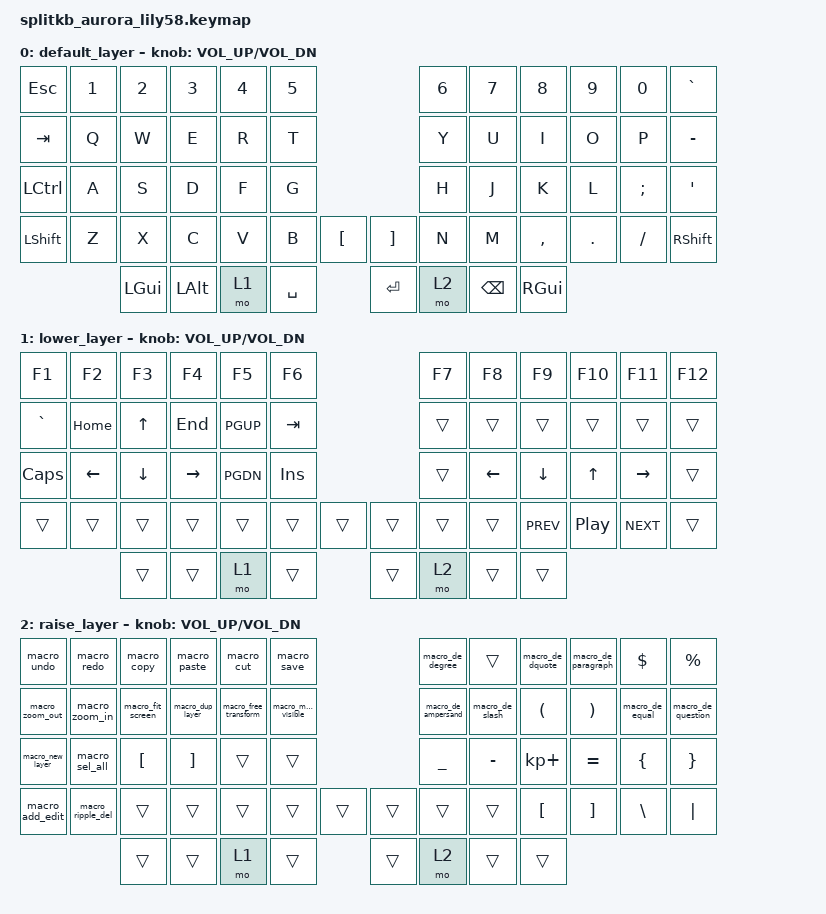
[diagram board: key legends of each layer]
/*
 * lilly keymap — Left-hand-"sole" DE-QWERTZ für Lily58 Pro
 * ─────────────────────────────────────────────────────────
 * Konzept:
 *   • Linke Hand = "sole" (Haupt-Hand): Navigation, Mods, Layer,
 *     Makros → rechte Hand bleibt frei für Maus/Stylus.
 *   • Trotzdem beidhändig ausgelegt für normales Tippen.
 *   • DE-QWERTZ (OS auf Deutsch eingestellt → HID-Keycodes
 *     erzeugen automatisch korrekte DE-Zeichen).
 *   • Gaming-freundlich (WASD, Zahlen, Space links, Shift, Ctrl
 *     an gewohnter Position).
 *   • Makro-Layer für Photoshop/GIMP, Video-Editing, etc.
 *   • Split-Keyboard- & Touch-Typing-Anfänger freundlich
 *     durch logische Layer-Struktur und Kommentare.
 *
 * Layer-Übersicht:
 *   0 – BASE:   DE-QWERTZ tippen
 *   1 – LOWER:  Navigation (Pfeile, Home, End…), F-Tasten,
 *               Mediensteuerung → linker Daumen
 *   2 – RAISE:  Kreativ-Makros + Sonderzeichen → rechter Daumen
 *
 * Makros (definiert in /macros):
 *   UNDO, REDO, COPY, PASTE, CUT, SAVE, SEL_ALL,
 *   NEW_LAYER, DUP_LAYER, FREE_TRANSFORM, MERGE_VISIBLE,
 *   ZOOM_IN, ZOOM_OUT, FIT_SCREEN, ADD_EDIT, RIPPLE_DEL
 *
 * Daumen-Cluster:
 *   Links:  ⌘ | ⌥ | LOWER(🖐) | ␣
 *   Rechts: ↵ | ⌫ | RAISE(🖐) | ⌘
 *   → Space am linken Daumen – optimal zum Spielen
 *     und für Daumen-Anfänger.
 *   → Enter & Backspace am rechten Daumen – logisch für
 *     beidhändiges Tippen.
 *
 * ♥ WICHTIG ♥  Dieses Layout setzt DE-Tastaturlayout im
 *   Betriebssystem voraus!  Die HID-Scancodes werden erst
 *   vom OS in die korrekten deutschen Zeichen übersetzt
 *   (Y→Z, Z→Y, [→Ü, ]→+, ;→Ö, '→Ä, ---→ß, `→^, usw.)
 */

#include <behaviors.dtsi>
#include <dt-bindings/zmk/keys.h>
#include <dt-bindings/zmk/bt.h>
#include <dt-bindings/zmk/ext_power.h>

/ {
    /*
     * ─── Makro-Definitionen ──────────────────────────────
     * Alle Makros sind als `&your_macro` in den Layern
     * verwendbar.
     */
    macros {

        /* ── Allgemeine Shortcuts ─────────────────────── */
        macro_undo: macro_undo {
            compatible = "zmk,behavior-macro";
            label = "UNDO";
            #binding-cells = <0>;
            bindings
                = <&macro_press &kp LCTRL>
                , <&macro_tap &kp Z>
                , <&macro_release &kp LCTRL>
                ;
        };

        macro_redo: macro_redo {
            compatible = "zmk,behavior-macro";
            label = "REDO";
            #binding-cells = <0>;
            bindings
                = <&macro_press &kp LCTRL>
                , <&macro_press &kp LSHFT>
                , <&macro_tap &kp Z>
                , <&macro_release &kp LSHFT>
                , <&macro_release &kp LCTRL>
                ;
        };

        macro_copy: macro_copy {
            compatible = "zmk,behavior-macro";
            label = "COPY";
            #binding-cells = <0>;
            bindings
                = <&macro_press &kp LCTRL>
                , <&macro_tap &kp C>
                , <&macro_release &kp LCTRL>
                ;
        };

        macro_paste: macro_paste {
            compatible = "zmk,behavior-macro";
            label = "PASTE";
            #binding-cells = <0>;
            bindings
                = <&macro_press &kp LCTRL>
                , <&macro_tap &kp V>
                , <&macro_release &kp LCTRL>
                ;
        };

        macro_cut: macro_cut {
            compatible = "zmk,behavior-macro";
            label = "CUT";
            #binding-cells = <0>;
            bindings
                = <&macro_press &kp LCTRL>
                , <&macro_tap &kp X>
                , <&macro_release &kp LCTRL>
                ;
        };

        macro_save: macro_save {
            compatible = "zmk,behavior-macro";
            label = "SAVE";
            #binding-cells = <0>;
            bindings
                = <&macro_press &kp LCTRL>
                , <&macro_tap &kp S>
                , <&macro_release &kp LCTRL>
                ;
        };

        macro_sel_all: macro_sel_all {
            compatible = "zmk,behavior-macro";
            label = "SEL_ALL";
            #binding-cells = <0>;
            bindings
                = <&macro_press &kp LCTRL>
                , <&macro_tap &kp A>
                , <&macro_release &kp LCTRL>
                ;
        };

        /* ── Photoshop / GIMP / Grafik ────────────────── */
        macro_new_layer: macro_new_layer {
            compatible = "zmk,behavior-macro";
            label = "NEW_LAYER";
            #binding-cells = <0>;
            bindings
                = <&macro_press &kp LCTRL>
                , <&macro_press &kp LSHFT>
                , <&macro_tap &kp N>
                , <&macro_release &kp LSHFT>
                , <&macro_release &kp LCTRL>
                ;
        };

        macro_dup_layer: macro_dup_layer {
            compatible = "zmk,behavior-macro";
            label = "DUP_LAYER";
            #binding-cells = <0>;
            bindings
                = <&macro_press &kp LCTRL>
                , <&macro_tap &kp J>
                , <&macro_release &kp LCTRL>
                ;
        };

        macro_free_transform: macro_free_transform {
            compatible = "zmk,behavior-macro";
            label = "FREE_TRANSFORM";
            #binding-cells = <0>;
            bindings
                = <&macro_press &kp LCTRL>
                , <&macro_tap &kp T>
                , <&macro_release &kp LCTRL>
                ;
        };

        macro_merge_visible: macro_merge_visible {
            compatible = "zmk,behavior-macro";
            label = "MERGE_VISIBLE";
            #binding-cells = <0>;
            bindings
                = <&macro_press &kp LCTRL>
                , <&macro_press &kp LSHFT>
                , <&macro_press &kp LALT>
                , <&macro_tap &kp E>
                , <&macro_release &kp LALT>
                , <&macro_release &kp LSHFT>
                , <&macro_release &kp LCTRL>
                ;
        };

        macro_zoom_in: macro_zoom_in {
            compatible = "zmk,behavior-macro";
            label = "ZOOM_IN";
            #binding-cells = <0>;
            bindings
                = <&macro_press &kp LCTRL>
                , <&macro_tap &kp EQUAL>
                , <&macro_release &kp LCTRL>
                ;
        };

        macro_zoom_out: macro_zoom_out {
            compatible = "zmk,behavior-macro";
            label = "ZOOM_OUT";
            #binding-cells = <0>;
            bindings
                = <&macro_press &kp LCTRL>
                , <&macro_tap &kp MINUS>
                , <&macro_release &kp LCTRL>
                ;
        };

        macro_fit_screen: macro_fit_screen {
            compatible = "zmk,behavior-macro";
            label = "FIT_SCREEN";
            #binding-cells = <0>;
            bindings
                = <&macro_press &kp LCTRL>
                , <&macro_tap &kp N0>
                , <&macro_release &kp LCTRL>
                ;
        };

        /* ── Video-Editing (Premiere / DaVinci) ──────── */
        macro_add_edit: macro_add_edit {
            compatible = "zmk,behavior-macro";
            label = "ADD_EDIT";
            #binding-cells = <0>;
            bindings
                = <&macro_press &kp LCTRL>
                , <&macro_tap &kp K>
                , <&macro_release &kp LCTRL>
                ;
        };

        macro_ripple_del: macro_ripple_del {
            compatible = "zmk,behavior-macro";
            label = "RIPPLE_DEL";
            #binding-cells = <0>;
            bindings
                = <&macro_press &kp LSHFT>
                , <&macro_tap &kp DEL>
                , <&macro_release &kp LSHFT>
                ;
        };

        /* ── DE-spezifische Sonderzeichen (per Makro) ── */
        macro_de_paragraph: macro_de_paragraph {
            compatible = "zmk,behavior-macro";
            label = "PARAGRAPH";
            #binding-cells = <0>;
            bindings
                = <&macro_press &kp LSHFT>
                , <&macro_tap &kp N3>
                , <&macro_release &kp LSHFT>
                ;
        };

        macro_de_dquote: macro_de_dquote {
            compatible = "zmk,behavior-macro";
            label = "DQUOTE";
            #binding-cells = <0>;
            bindings
                = <&macro_press &kp LSHFT>
                , <&macro_tap &kp N2>
                , <&macro_release &kp LSHFT>
                ;
        };

        macro_de_ampersand: macro_de_ampersand {
            compatible = "zmk,behavior-macro";
            label = "AMPERSAND";
            #binding-cells = <0>;
            bindings
                = <&macro_press &kp LSHFT>
                , <&macro_tap &kp N6>
                , <&macro_release &kp LSHFT>
                ;
        };

        macro_de_slash: macro_de_slash {
            compatible = "zmk,behavior-macro";
            label = "SLASH";
            #binding-cells = <0>;
            bindings
                = <&macro_press &kp LSHFT>
                , <&macro_tap &kp N7>
                , <&macro_release &kp LSHFT>
                ;
        };

        macro_de_degree: macro_de_degree {
            compatible = "zmk,behavior-macro";
            label = "DEGREE";
            #binding-cells = <0>;
            bindings
                = <&macro_press &kp LSHFT>
                , <&macro_tap &kp GRAVE>
                , <&macro_release &kp LSHFT>
                ;
        };

        macro_de_equal: macro_de_equal {
            compatible = "zmk,behavior-macro";
            label = "EQUAL_DE";
            #binding-cells = <0>;
            bindings
                = <&macro_press &kp LSHFT>
                , <&macro_tap &kp N0>
                , <&macro_release &kp LSHFT>
                ;
        };

        macro_de_question: macro_de_question {
            compatible = "zmk,behavior-macro";
            label = "QUESTION";
            #binding-cells = <0>;
            bindings
                = <&macro_press &kp LSHFT>
                , <&macro_tap &kp MINUS>
                , <&macro_release &kp LSHFT>
                ;
        };
    };

    /*
     * ─── Keymap ──────────────────────────────────────────
     */
    keymap {
        compatible = "zmk,keymap";

        /* ================================================
         * LAYER 0: BASE – DE-QWERTZ (beidhändig)
         * ================================================
         * OS auf DEUTSCH eingestellt → die HID-Scancodes
         * werden automatisch in deutsche Zeichen übersetzt:
         *
         *   HID Y → Z   HID Z → Y   HID [ → Ü
         *   HID ] → +   HID ; → Ö   HID ' → Ä
         *   HID - → ß   HID ` → ^
         *
         * ┌───┬───┬───┬───┬───┬───┐     ┌───┬───┬───┬───┬───┬───┐
         * │ESC│ 1 │ 2 │ 3 │ 4 │ 5 │     │ 6 │ 7 │ 8 │ 9 │ 0 │ ^ │
         * ├───┼───┼───┼───┼───┼───┤     ├───┼───┼───┼───┼───┼───┤
         * │TAB│ Q │ W │ E │ R │ T │     │ Z │ U │ I │ O │ P │ ß │
         * ├───┼───┼───┼───┼───┼───┤     ├───┼───┼───┼───┼───┼───┤
         * │CTL│ A │ S │ D │ F │ G │     │ H │ J │ K │ L │ Ö │ Ä │
         * ├───┼───┼───┼───┼───┼───┼──┬──┼───┼───┼───┼───┼───┼───┤
         * │SFT│ Y │ X │ C │ V │ B │ Ü│ +│ N │ M │ , │ . │ - │SFT│
         * └───┴───┴───┴───┴───┴───┴──┴──┴───┴───┴───┴───┴───┴───┘
         *          ┌───┬───┬───┬───┐     ┌───┬───┬───┬───┐
         *          │⌘  │⌥  │LWR│␣  │     │↵  │⌫  │RSE│⌘  │
         *          └───┴───┴───┴───┘     └───┴───┴───┴───┘
         *
         *   Y (HID Z)  = deutsch Y (unten links)
         *   Z (HID Y)  = deutsch Z (oben rechts, nach T)
         *   Ü (HID [)  = Ü (neben P)
         *   Ö (HID ;)  = Ö (neben L)
         *   Ä (HID ')  = Ä (neben Ö)
         *   ß (HID -)  = ß (neben 0)
         *   ^ (HID `)  = ^ (neben 0)
         *
         *   WASD: bleibt an Position (W=oben, A=home, S=home, D=home).
         *   Space: linker Daumen → Gaming + Touch-Typing.
         */
        default_layer {
            bindings = <
&kp ESC   &kp N1    &kp N2    &kp N3    &kp N4    &kp N5                      &kp N6   &kp N7    &kp N8    &kp N9    &kp N0    &kp GRAVE
&kp TAB   &kp Q     &kp W     &kp E     &kp R     &kp T                       &kp Y    &kp U     &kp I     &kp O     &kp P     &kp MINUS
&kp LCTRL &kp A     &kp S     &kp D     &kp F     &kp G                       &kp H    &kp J     &kp K     &kp L     &kp SEMI  &kp SQT
&kp LSHFT &kp Z     &kp X     &kp C     &kp V     &kp B  &kp LBKT   &kp RBKT &kp N    &kp M     &kp COMMA &kp DOT   &kp FSLH  &kp RSHFT
                        &kp LGUI &kp LALT &mo 1    &kp SPACE  &kp RET  &mo 2   &kp BSPC &kp RGUI
            >;

            sensor-bindings = <&inc_dec_kp C_VOL_UP C_VOL_DN>;
        };

        /* ================================================
         * LAYER 1: LOWER – Navigation, F-Tasten, Medien
         * ================================================
         * Linker Daumen hält LOWER → Linke Hand:
         *   • Pfeiltasten + Navi-Block (↑ ↓ ← →, Home, End,
         *     PgUp, PgDn, Pos1, Ende)
         *   • F1–F12 für Spiele/Programme
         *   • Mediensteuerung (Play/Pause, Prev, Next)
         * Rechte Hand bleibt frei für Maus!
         *
         * Gaming: Pfeile + F-Tasten + ESC griffbereit links.
         *
         * ┌───┬───┬───┬───┬───┬───┐     ┌───┬───┬───┬───┬───┬───┐
         * │ F1│ F2│ F3│ F4│ F5│ F6│     │ F7│ F8│ F9│F10│F11│F12│
         * ├───┼───┼───┼───┼───┼───┤     ├───┼───┼───┼───┼───┼───┤
         * │ ^ │POS│ ↑ │END│BILD│TAB│     │TRN│TRN│TRN│TRN│TRN│TRN│
         * ├───┼───┼───┼───┼───┼───┤     ├───┼───┼───┼───┼───┼───┤
         * │CAP│ ← │ ↓ │ → │BILD↓│EINF│     │TRN│ ← │ ↓ │ ↑ │ → │TRN│
         * ├───┼───┼───┼───┼───┼───┼──┬──┼───┼───┼───┼───┼───┼───┤
         * │TRN│TRN│TRN│TRN│TRN│TRN│TRN│TRN│TRN│TRN│⏮ │⏯ │⏭ │TRN│
         * └───┴───┴───┴───┴───┴───┴──┴──┴───┴───┴───┴───┴───┴───┘
         *          ┌───┬───┬───┬───┐     ┌───┬───┬───┬───┐
         *          │TRN│TRN│LWR│TRN│     │TRN│TRN│RSE│TRN│
         *          └───┴───┴───┴───┘     └───┴───┴───┴───┘
         */
        lower_layer {
            bindings = <
&kp F1    &kp F2    &kp F3    &kp F4    &kp F5    &kp F6                      &kp F7   &kp F8    &kp F9    &kp F10   &kp F11   &kp F12
&kp GRAVE &kp HOME  &kp UP    &kp END   &kp PGUP  &kp TAB                     &trans   &trans    &trans    &trans    &trans    &trans
&kp CAPS  &kp LEFT  &kp DOWN  &kp RIGHT &kp PGDN  &kp INS                     &trans   &kp LEFT  &kp DOWN  &kp UP    &kp RIGHT &trans
&trans    &trans    &trans    &trans    &trans    &trans  &trans     &trans   &trans   &trans    &kp C_PREV &kp C_PP &kp C_NEXT &trans
                        &trans    &trans    &mo 1    &trans     &trans  &mo 2   &trans    &trans
            >;

            sensor-bindings = <&inc_dec_kp C_VOL_UP C_VOL_DN>;
        };

        /* ================================================
         * LAYER 2: RAISE – Kreativ-Makros + Sonderzeichen
         * ================================================
         * Rechter Daumen hält RAISE → Linke Hand = Makros!
         * Alle Shortcuts für Photoshop, GIMP, Video-Editing
         * sind auf der LINKEN Seite (rechte Hand bedient
         * Maus/Stylus).
         *
         * Linke Seite (Makros):
         *   ↩    ↩    📋   📋   ✂   💾
         *   🔍-  🔍+  📐  📄  ✨  🖨
         *   📑  📋  [  ]  —  —
         *   🎬  🗑  —  —  —  —
         *
         * Rechte Seite (DE-Sonderzeichen per Makro):
         *   ^(°)  (leer) "  §  $  %
         *   &  /  (  )  =  ?
         *   _  -  +  =  {  }
         *   —  —  —  —  \  |
         *
         * Legende:
         *   ↩ = UNDO   ↩ = REDO   📋 = COPY   📋 = PASTE
         *   ✂ = CUT   💾 = SAVE   🔍- = ZOOM-  🔍+ = ZOOM+
         *   📐 = FIT   📄 = DUP   ✨ = FREE-T  🖨 = STAMP
         *   📑 = NEW   [ = BR-    ] = BR+   🎬 = ADD EDIT
         *   🗑 = RIPPLE DEL
         *
         * ┌───┬───┬───┬───┬───┬───┐     ┌───┬───┬───┬───┬───┬───┐
         * │↩  │↩  │📋 │📋 │✂  │💾 │     │ ^ │   │ " │ § │ $ │ % │
         * ├───┼───┼───┼───┼───┼───┤     ├───┼───┼───┼───┼───┼───┤
         * │🔍-│🔍+│📐 │📄 │✨ │🖨 │     │ & │ / │ ( │ ) │ = │ ? │
         * ├───┼───┼───┼───┼───┼───┤     ├───┼───┼───┼───┼───┼───┤
         * │📑 │📋*│ [ │ ] │TRN│TRN│     │ _ │ - │ + │ = │ { │ } │
         * ├───┼───┼───┼───┼───┼───┼──┬──┼───┼───┼───┼───┼───┼───┤
         * │🎬 │🗑 │TRN│TRN│TRN│TRN│TRN│TRN│TRN│TRN│ [ │ ] │ \ │ | │
         * └───┴───┴───┴───┴───┴───┴──┴──┴───┴───┴───┴───┴───┴───┘
         *          ┌───┬───┬───┬───┐     ┌───┬───┬───┬───┐
         *          │TRN│TRN│LWR│TRN│     │TRN│TRN│RSE│TRN│
         *          └───┴───┴───┴───┘     └───┴───┴───┴───┘
         *
         *   * Hinweis: SEL_ALL (Strg+A) ist auch hier,
         *     da es oft vor Copy/Paste benötigt wird.
         */
        raise_layer {
            bindings = <
&macro_undo &macro_redo &macro_copy     &macro_paste    &macro_cut      &macro_save                    &macro_de_degree &trans     &macro_de_dquote &macro_de_paragraph &kp DOLLAR     &kp PRCNT
&macro_zoom_out &macro_zoom_in &macro_fit_screen &macro_dup_layer &macro_free_transform &macro_merge_visible &macro_de_ampersand &macro_de_slash &kp LPAR &kp RPAR &macro_de_equal &macro_de_question
&macro_new_layer &macro_sel_all   &kp LBKT &kp RBKT &trans  &trans                         &kp UNDER &kp MINUS &kp KP_PLUS &kp EQUAL    &kp LBRC     &kp RBRC
&macro_add_edit &macro_ripple_del &trans    &trans    &trans    &trans  &trans   &trans  &trans    &trans     &kp LBKT     &kp RBKT     &kp BSLH     &kp PIPE
                        &trans    &trans    &mo 1    &trans     &trans  &mo 2  &trans    &trans
            >;

            sensor-bindings = <&inc_dec_kp C_VOL_UP C_VOL_DN>;
        };
    };
};
